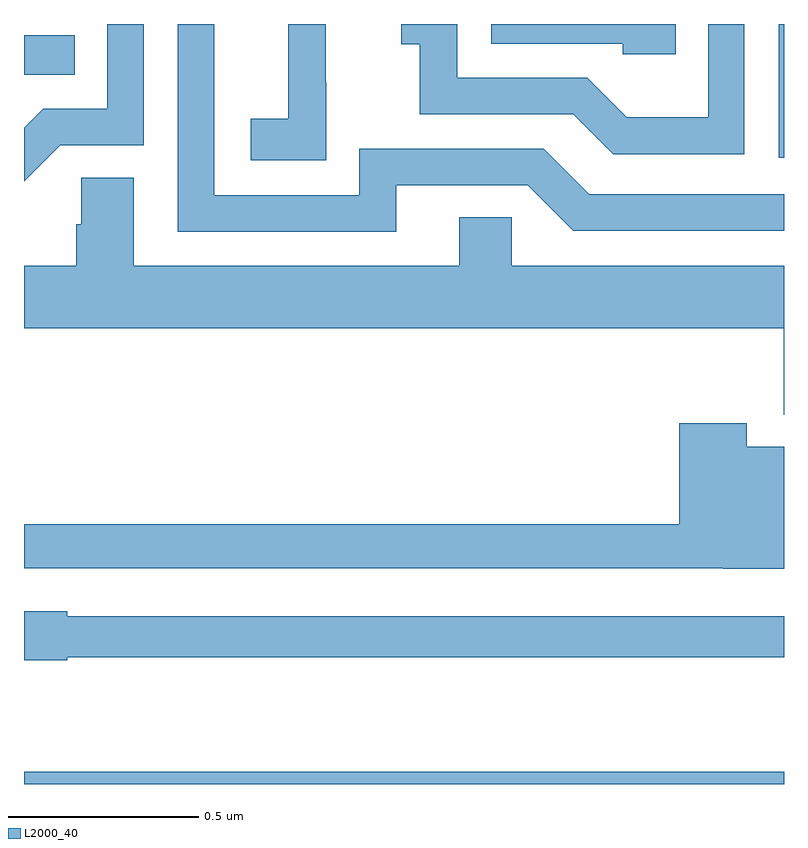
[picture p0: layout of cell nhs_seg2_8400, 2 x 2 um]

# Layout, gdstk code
import gdstk
lib = gdstk.Library(unit=1e-6, precision=1e-09)
def R(c, l, rs):  # rectangles x0, y0, x1, y1
    for r in rs: c.add(gdstk.rectangle(r[:2], r[2:], *l))
def P(c, l, *ps):  # polygons
    for p in ps: c.add(gdstk.Polygon(p, *l))
L2000_40 = (2000, 40)

nhs_seg2_8400 = lib.new_cell('nhs_seg2_8400')
R(nhs_seg2_8400, L2000_40, [(216,615.8,218,615.832), (217.986,617.448,218,617.8), (216,617.666,216.134,617.77)])
P(nhs_seg2_8400, L2000_40, [(216.096,617.481),(216.315,617.481),(216.315,617.8),(216.219,617.8),(216.219,617.577),(216.05,617.577),(216,617.527),(216,617.386)],
  [(216.795,617.647),(216.794,617.647),(216.794,617.8),(216.696,617.8),(216.696,617.78),(216.695,617.78),(216.695,617.551),(216.597,617.551),(216.597,617.441),(216.795,617.441)],
  [(217.715,617.8),(217.23,617.8),(217.23,617.748),(217.575,617.748),(217.575,617.721),(217.715,617.721)],
  [(216.979,617.376),(217.326,617.376),(217.446,617.256),(218,617.256),(218,617.352),(217.488,617.352),(217.368,617.472),(216.882,617.472),(216.882,617.349),(216.501,617.349),(216.501,617.8),(216.405,617.8),(216.405,617.253),(216.979,617.253)],
  [(217.896,617.8),(217.8,617.8),(217.8,617.554),(217.586,617.554),(217.482,617.658),(217.14,617.658),(217.14,617.8),(216.993,617.8),(216.993,617.747),(217.042,617.747),(217.042,617.562),(217.445,617.562),(217.55,617.457),(217.896,617.457)],
  [(218,617.164),(217.284,617.164),(217.284,617.291),(217.145,617.291),(217.145,617.164),(216.289,617.164),(216.289,617.396),(216.15,617.396),(216.15,617.273),(216.137,617.273),(216.137,617.164),(216,617.164),(216,617),(217.999,617),(217.999,616.772),(218,616.772)],
  [(218,616.687),(217.902,616.687),(217.902,616.75),(217.724,616.75),(217.724,616.484),(216,616.484),(216,616.368),(217.84,616.368),(217.84,616.367),(218,616.367)],
  [(216.114,616.134),(218,616.134),(218,616.242),(216.114,616.242),(216.114,616.255),(216,616.255),(216,616.126),(216.114,616.126)])

lib.write_gds('nhs_seg2_8400.gds')
